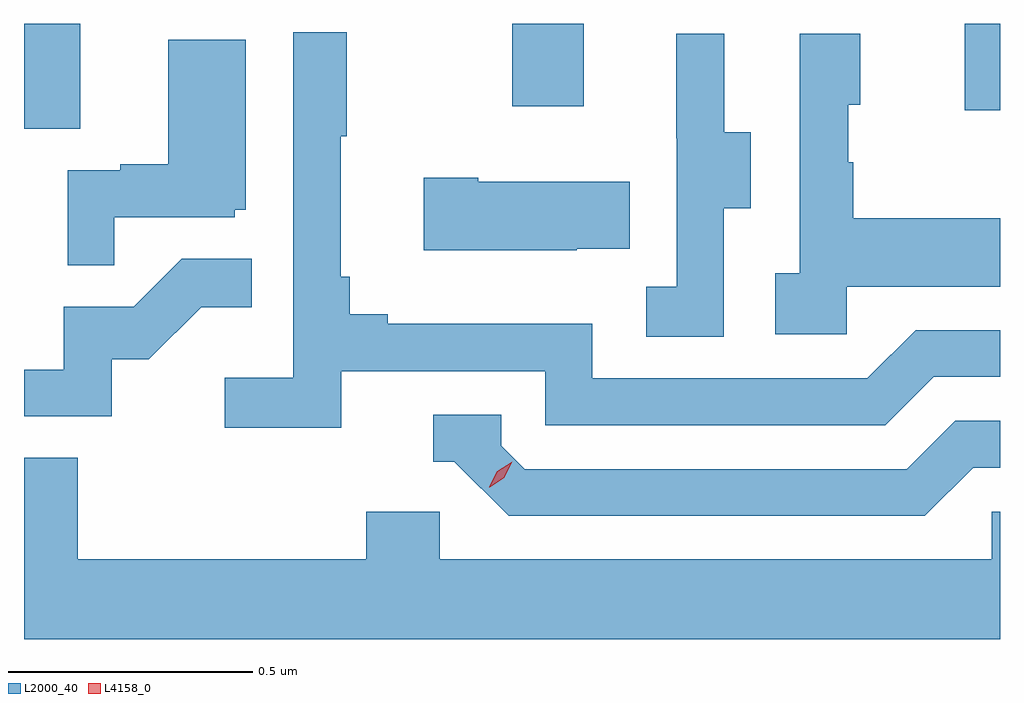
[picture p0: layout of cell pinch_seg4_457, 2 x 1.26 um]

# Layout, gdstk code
import gdstk
lib = gdstk.Library(unit=1e-6, precision=1e-09)
def R(c, l, rs):  # rectangles x0, y0, x1, y1
    for r in rs: c.add(gdstk.rectangle(r[:2], r[2:], *l))
def P(c, l, *ps):  # polygons
    for p in ps: c.add(gdstk.Polygon(p, *l))
L2000_40 = (2000, 40)
L4158_0 = (4158, 0)

pinch_seg4_457 = lib.new_cell('pinch_seg4_457')
R(pinch_seg4_457, L2000_40, [(901.866,776.554,901.981,776.77), (903.794,776.592,903.866,776.77), (902.866,776.601,903.013,776.77)])
P(pinch_seg4_457, L2000_40, [(902.516,776.058),(902.934,776.058),(902.934,775.947),(903.631,775.947),(903.73,776.046),(903.866,776.046),(903.866,776.142),(903.693,776.142),(903.594,776.043),(903.03,776.043),(903.03,776.155),(902.611,776.155),(902.611,776.174),(902.534,776.174),(902.534,776.251),(902.515,776.251),(902.515,776.539),(902.527,776.539),(902.527,776.752),(902.418,776.752),(902.418,776.044),(902.277,776.044),(902.277,775.942),(902.516,775.942)],
  [(903.552,776.231),(903.866,776.231),(903.866,776.371),(903.565,776.371),(903.565,776.486),(903.555,776.486),(903.555,776.604),(903.58,776.604),(903.58,776.749),(903.456,776.749),(903.456,776.258),(903.405,776.258),(903.405,776.133),(903.552,776.133)],
  [(903.3,776.392),(903.355,776.392),(903.355,776.547),(903.301,776.547),(903.301,776.749),(903.203,776.749),(903.203,776.535),(903.204,776.535),(903.204,776.231),(903.141,776.231),(903.141,776.128),(903.3,776.128)],
  [(902.051,776.373),(902.298,776.373),(902.298,776.388),(902.32,776.388),(902.32,776.737),(902.162,776.737),(902.162,776.482),(902.063,776.482),(902.063,776.469),(901.956,776.469),(901.956,776.275),(902.051,776.275)],
  [(902.999,776.309),(903.107,776.309),(903.107,776.446),(902.797,776.446),(902.797,776.454),(902.685,776.454),(902.685,776.306),(902.999,776.306)],
  [(902.046,776.082),(902.122,776.082),(902.229,776.189),(902.333,776.189),(902.333,776.288),(902.189,776.288),(902.091,776.19),(901.947,776.19),(901.947,776.061),(901.866,776.061),(901.866,775.965),(902.046,775.965)],
  [(903.811,775.86),(903.866,775.86),(903.866,775.956),(903.774,775.956),(903.675,775.857),(902.892,775.857),(902.844,775.905),(902.844,775.968),(902.705,775.968),(902.705,775.872),(902.748,775.872),(902.859,775.761),(903.712,775.761)],
  [(903.866,775.77),(903.849,775.77),(903.849,775.672),(902.718,775.672),(902.718,775.77),(902.567,775.77),(902.567,775.672),(901.976,775.672),(901.976,775.88),(901.866,775.88),(901.866,775.508),(903.866,775.508)])
P(pinch_seg4_457, L4158_0, [(902.819,775.82),(902.819,775.821),(902.836,775.853),(902.866,775.872),(902.867,775.872),(902.867,775.872),(902.85,775.839),(902.82,775.82)])

lib.write_gds('pinch_seg4_457.gds')
